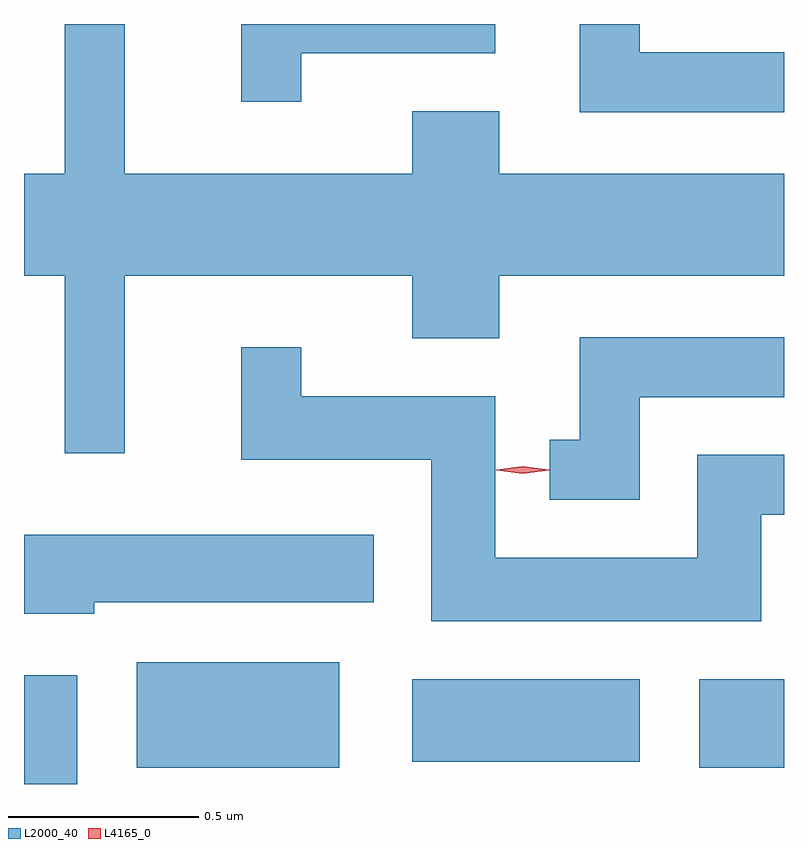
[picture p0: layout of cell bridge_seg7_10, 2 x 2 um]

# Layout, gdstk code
import gdstk
lib = gdstk.Library(unit=1e-6, precision=1e-09)
def R(c, l, rs):  # rectangles x0, y0, x1, y1
    for r in rs: c.add(gdstk.rectangle(r[:2], r[2:], *l))
def P(c, l, *ps):  # polygons
    for p in ps: c.add(gdstk.Polygon(p, *l))
L2000_40 = (2000, 40)
L4165_0 = (4165, 0)

bridge_seg7_10 = lib.new_cell('bridge_seg7_10')
R(bridge_seg7_10, L2000_40, [(1667.959,1770.698,1668.099,1770.984), (1668.256,1770.741,1668.789,1771.019), (1669.736,1770.741,1669.959,1770.974), (1668.981,1770.756,1669.579,1770.974)])
P(bridge_seg7_10, L2000_40, [(1668.224,1772.036),(1668.981,1772.036),(1668.981,1771.871),(1669.209,1771.871),(1669.209,1772.036),(1669.959,1772.036),(1669.959,1772.304),(1669.209,1772.304),(1669.209,1772.469),(1668.981,1772.469),(1668.981,1772.304),(1668.224,1772.304),(1668.224,1772.698),(1668.066,1772.698),(1668.066,1772.304),(1667.959,1772.304),(1667.959,1772.036),(1668.066,1772.036),(1668.066,1771.568),(1668.224,1771.568)],
  [(1669.959,1772.624),(1669.579,1772.624),(1669.579,1772.698),(1669.421,1772.698),(1669.421,1772.466),(1669.959,1772.466)],
  [(1668.689,1772.621),(1669.199,1772.621),(1669.199,1772.698),(1668.531,1772.698),(1668.531,1772.493),(1668.689,1772.493)],
  [(1669.579,1771.716),(1669.959,1771.716),(1669.959,1771.874),(1669.421,1771.874),(1669.421,1771.604),(1669.343,1771.604),(1669.343,1771.446),(1669.579,1771.446)],
  [(1669.899,1771.406),(1669.959,1771.406),(1669.959,1771.564),(1669.731,1771.564),(1669.731,1771.294),(1669.199,1771.294),(1669.199,1771.719),(1668.689,1771.719),(1668.689,1771.848),(1668.531,1771.848),(1668.531,1771.551),(1669.031,1771.551),(1669.031,1771.126),(1669.899,1771.126)],
  [(1668.144,1771.176),(1668.879,1771.176),(1668.879,1771.354),(1667.959,1771.354),(1667.959,1771.146),(1668.144,1771.146)])
P(bridge_seg7_10, L4165_0, [(1669.271,1771.515),(1669.202,1771.524),(1669.202,1771.524),(1669.202,1771.525),(1669.271,1771.534),(1669.341,1771.525),(1669.341,1771.525),(1669.341,1771.524)])

lib.write_gds('bridge_seg7_10.gds')
